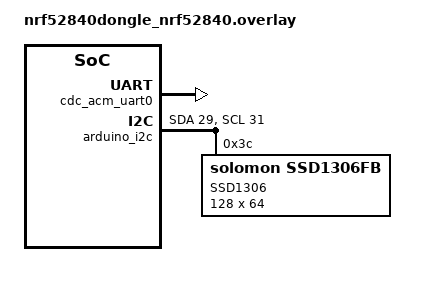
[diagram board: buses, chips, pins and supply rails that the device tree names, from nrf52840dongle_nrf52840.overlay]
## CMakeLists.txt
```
# SPDX-License-Identifier: Apache-2.0

cmake_minimum_required(VERSION 3.20.0)

set(SHIELD ssd1306_128x64)

find_package(Zephyr REQUIRED HINTS $ENV{ZEPHYR_BASE})
project(none)

target_sources(app PRIVATE src/main.c src/ttpms_display.c src/ttpms_client.c)
```

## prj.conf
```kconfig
CONFIG_HEAP_MEM_POOL_SIZE=16384
CONFIG_MAIN_STACK_SIZE=2048

CONFIG_USB_DEVICE_STACK=y
CONFIG_USB_DEVICE_PRODUCT="TTPMS Dongle"

CONFIG_SERIAL=y
CONFIG_CONSOLE=y
CONFIG_UART_CONSOLE=y
CONFIG_UART_LINE_CTRL=y

CONFIG_DISPLAY=y

CONFIG_LVGL=y
CONFIG_LVGL_USE_LABEL=y
CONFIG_LVGL_USE_CONT=y
CONFIG_LVGL_USE_THEME_MATERIAL=y

CONFIG_LVGL_USE_THEME_MONO=y    # white on black
CONFIG_LVGL_USE_LINE=y

CONFIG_BT=y
CONFIG_BT_CENTRAL=y
CONFIG_BT_GATT_CLIENT=y

CONFIG_BT_SCAN=y
CONFIG_BT_SCAN_FILTER_ENABLE=y
CONFIG_BT_SCAN_UUID_CNT=4

CONFIG_BT_MAX_CONN=4

CONFIG_BT_BUF_ACL_RX_SIZE=251
CONFIG_BT_BUF_ACL_TX_SIZE=251
CONFIG_BT_L2CAP_TX_MTU=247
CONFIG_BT_CTLR_DATA_LENGTH_MAX=251
```

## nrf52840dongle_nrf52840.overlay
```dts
// To get started, press Ctrl+Space to bring up the completion menu and view the available nodes.
// For more help, browse the DeviceTree documentation at https://docs.zephyrproject.org/latest/guides/dts/index.html

/*  ALSO ADDED THE BELOW TO nrf52840dongle_nrf52840.dts
    arduino_i2c: &i2c0 {
	compatible = "nordic,nrf-twi";
	status = "okay";
	sda-pin = <26>;
	scl-pin = <27>;
};
*/

/ {
	chosen {
		zephyr,console = &cdc_acm_uart0;
	};
};

&zephyr_udc0 {
	cdc_acm_uart0: cdc_acm_uart0 {
		compatible = "zephyr,cdc-acm-uart";
		label = "CDC_ACM_0";
	};
};

&arduino_i2c {
    status = "okay";
    sda-pin = <29>;
    scl-pin = <31>;
    ssd1306@3c {
        compatible = "solomon,ssd1306fb";
        reg = <0x3c>;
        label = "SSD1306";
        width = <128>;
        height = <64>;
        segment-offset = <0>;
        page-offset = <0>;
        display-offset = <0>;
        multiplex-ratio = <63>;
        segment-remap;
        com-invdir;
        prechargep = <0x22>;
    };
};
```

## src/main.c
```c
/*
 * Copyright (c) 2012-2014 Wind River Systems, Inc.
 *
 * SPDX-License-Identifier: Apache-2.0
 */

#include <zephyr.h>
#include <sys/printk.h>

#include <usb/usb_device.h>
#include <drivers/uart.h>

#include "ttpms_display.h"
#include "ttpms_client.h"

void main(void)
{
	const struct device *dev = DEVICE_DT_GET(DT_CHOSEN(zephyr_console));
	uint32_t dtr = 0;
	
	if (usb_enable(NULL)) {
		return;
	}
	
	// Poll if the DTR flag was set
	while (!dtr) {
		uart_line_ctrl_get(dev, UART_LINE_CTRL_DTR, &dtr);
		// Give CPU resources to low priority threads.
		k_sleep(K_MSEC(100));
	}

	ttpms_display_init();

	ttpms_client_init();

	ttpms_display_update_test();
}
```

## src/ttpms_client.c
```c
#include "ttpms_client.h"

static struct bt_uuid_128 ttpms_uuids[4] = {BT_UUID_INIT_128(TTPMS_BASE_UUID_FL),
											BT_UUID_INIT_128(TTPMS_BASE_UUID_FR),
											BT_UUID_INIT_128(TTPMS_BASE_UUID_RL),
											BT_UUID_INIT_128(TTPMS_BASE_UUID_RR)};

static struct bt_conn *default_conn;

static void scan_filter_match(struct bt_scan_device_info *device_info,
			      struct bt_scan_filter_match *filter_match,
			      bool connectable)
{
	char addr[BT_ADDR_LE_STR_LEN];

	bt_addr_le_to_str(device_info->recv_info->addr, addr, sizeof(addr));

	printk("Filters matched. Address: %s connectable: %s\n",
		addr, connectable ? "yes" : "no");
}

static void scan_connecting_error(struct bt_scan_device_info *device_info)
{
	printk("Connecting failed\n");
}

static void scan_connecting(struct bt_scan_device_info *device_info,
			    struct bt_conn *conn)
{
	default_conn = bt_conn_ref(conn);
}

static void scan_filter_no_match(struct bt_scan_device_info *device_info,
				 bool connectable)
{
	int err;
	struct bt_conn *conn;
	char addr[BT_ADDR_LE_STR_LEN];

	if (device_info->recv_info->adv_type == BT_GAP_ADV_TYPE_ADV_DIRECT_IND) {
		bt_addr_le_to_str(device_info->recv_info->addr, addr,
				  sizeof(addr));
		printk("Direct advertising received from %s\n", addr);
		bt_scan_stop();

		err = bt_conn_le_create(device_info->recv_info->addr,
					BT_CONN_LE_CREATE_CONN,
					device_info->conn_param, &conn);

		if (!err) {
			default_conn = bt_conn_ref(conn);
			bt_conn_unref(conn);
		}
	}
}

BT_SCAN_CB_INIT(scan_cb, scan_filter_match, scan_filter_no_match,
		scan_connecting_error, scan_connecting);

static void mtu_exchange_cb(struct bt_conn *conn, uint8_t err,
			    struct bt_gatt_exchange_params *params)
{
	printk("MTU exchange %u %s (%u)\n", bt_conn_index(conn),
	       err == 0U ? "successful" : "failed", bt_gatt_get_mtu(conn));
}

static struct bt_gatt_exchange_params mtu_exchange_params[CONFIG_BT_MAX_CONN];

static int mtu_exchange(struct bt_conn *conn)
{
	uint8_t conn_index;
	int err;

	conn_index = bt_conn_index(conn);

	printk("MTU (%u): %u\n", conn_index, bt_gatt_get_mtu(conn));

	mtu_exchange_params[conn_index].func = mtu_exchange_cb;

	err = bt_gatt_exchange_mtu(conn, &mtu_exchange_params[conn_index]);
	if (err) {
		printk("MTU exchange failed (err %d)", err);
	} else {
		printk("Exchange pending...");
	}

	return err;
}

static void connected(struct bt_conn *conn, uint8_t conn_err)
{
	int err;
	char addr[BT_ADDR_LE_STR_LEN];

	bt_addr_le_to_str(bt_conn_get_dst(conn), addr, sizeof(addr));

	if (conn_err) {
		printk("Failed to connect to %s (%u)\n", addr, conn_err);
		if (conn == default_conn) {
			bt_conn_unref(default_conn);
			default_conn = NULL;

			/* This demo doesn't require active scan */
			err = bt_scan_start(BT_SCAN_TYPE_SCAN_ACTIVE);
			if (err) {
				printk("Scanning failed to start (err %d)\n",
				       err);
			}
		}

		return;
	}

	printk("Connected: %s\n", addr);

	mtu_exchange(conn);

}

static void disconnected(struct bt_conn *conn, uint8_t reason)
{
	char addr[BT_ADDR_LE_STR_LEN];
	int err;

	bt_addr_le_to_str(bt_conn_get_dst(conn), addr, sizeof(addr));

	printk("Disconnected: %s (reason %u)\n", addr, reason);

	if (default_conn != conn) {
		return;
	}

	bt_conn_unref(default_conn);
	default_conn = NULL;

	/* This demo doesn't require active scan */
	err = bt_scan_start(BT_SCAN_TYPE_SCAN_ACTIVE);
	if (err) {
		printk("Scanning failed to start (err %d)\n", err);
	}
}

BT_CONN_CB_DEFINE(conn_callbacks) = {
	.connected = connected,
	.disconnected = disconnected,
};

static void scan_init(void)
{
	int err;

	struct bt_scan_init_param scan_init = {
		.connect_if_match = 1,
		.scan_param = NULL,
		.conn_param = BT_LE_CONN_PARAM_DEFAULT
	};

	bt_scan_init(&scan_init);
	bt_scan_cb_register(&scan_cb);

	err = bt_scan_filter_add(BT_SCAN_FILTER_TYPE_UUID, ttpms_uuids);
	if (err) {
		printk("Scanning filters cannot be set (err %d)\n", err);

		return;
	}

	err = bt_scan_filter_enable(BT_SCAN_UUID_FILTER, false);
	if (err) {
		printk("Filters cannot be turned on (err %d)\n", err);
	}
}

void ttpms_client_init(void)
{
    int err;

	printk("Starting TTPMS Dongle\n");

	err = bt_enable(NULL);
	if (err) {
		printk("Bluetooth init failed (err %d)\n", err);
		return;
	}

	printk("Bluetooth initialized\n");

	scan_init();

	err = bt_scan_start(BT_SCAN_TYPE_SCAN_ACTIVE);
	if (err) {
		printk("Scanning failed to start (err %d)\n", err);
		return;
	}

	printk("Scanning successfully started\n");
}
```

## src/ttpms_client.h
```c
#include <bluetooth/bluetooth.h>
#include <bluetooth/hci.h>
#include <bluetooth/conn.h>
#include <bluetooth/uuid.h>
#include <bluetooth/gatt.h>
#include <bluetooth/scan.h>

#define UUID_PART_1				    0x7f0413db		// randomly generated
#define TTPMS_LOCATION_FL			0xFF01
#define TTPMS_LOCATION_FR			0xFF02
#define TTPMS_LOCATION_RL			0xFF03
#define TTPMS_LOCATION_RR			0xFF04
#define BASE_UUID_PART			    0x00FF			// used for base service UUID
#define UUID_PART_4				    0x9c11			// randomly generated
#define UUID_PART_5				    0x8f8275ff78c4	// randomly generated

#define TTPMS_BASE_UUID_FL BT_UUID_128_ENCODE(UUID_PART_1, TTPMS_LOCATION_FL, BASE_UUID_PART, UUID_PART_4, UUID_PART_5)
#define TTPMS_BASE_UUID_FR BT_UUID_128_ENCODE(UUID_PART_1, TTPMS_LOCATION_FR, BASE_UUID_PART, UUID_PART_4, UUID_PART_5)
#define TTPMS_BASE_UUID_RL BT_UUID_128_ENCODE(UUID_PART_1, TTPMS_LOCATION_RL, BASE_UUID_PART, UUID_PART_4, UUID_PART_5)
#define TTPMS_BASE_UUID_RR BT_UUID_128_ENCODE(UUID_PART_1, TTPMS_LOCATION_RR, BASE_UUID_PART, UUID_PART_4, UUID_PART_5)

void ttpms_client_init(void);
```

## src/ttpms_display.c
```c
#include "ttpms_display.h"

uint32_t count = 0U;		// number value
char count_str[11] = {0};	// number string
const struct device *display_dev;

static lv_style_t style_1;
lv_obj_t *boot_label_1;
lv_obj_t *boot_label_2;
lv_obj_t *FL_label;
lv_obj_t *FL_connection_label;
lv_obj_t *FL_battery_label;
lv_obj_t *FR_label;
lv_obj_t *FR_connection_label;
lv_obj_t *FR_battery_label;
lv_obj_t *RL_label;
lv_obj_t *RL_connection_label;
lv_obj_t *RL_battery_label;
lv_obj_t *RR_label;
lv_obj_t *RR_connection_label;
lv_obj_t *RR_battery_label;
static lv_point_t *vertical_line_points;
static lv_point_t *horizontal_line_points;
lv_obj_t *vertical_line;
lv_obj_t *horizontal_line;
static lv_style_t style_line;

void ttpms_display_init(void)
{

	display_dev = device_get_binding(CONFIG_LVGL_DISPLAY_DEV_NAME);

	if (display_dev == NULL) {
		printk("device not found.  Aborting test.");
		return;
	}

	lv_style_init(&style_1);
	lv_style_set_text_letter_space(&style_1, LV_STATE_DEFAULT, -1);

	boot_label_1 = lv_label_create(lv_scr_act(), NULL);
	lv_label_set_text(boot_label_1, "TTPMS v1.0");
	lv_label_set_align(boot_label_1, LV_LABEL_ALIGN_CENTER);
	lv_obj_align(boot_label_1, NULL, LV_ALIGN_CENTER, 0, -16);

	boot_label_2 = lv_label_create(lv_scr_act(), NULL);
	lv_label_set_text(boot_label_2, "Schulich Racing\n\nRyland Mueller");
	lv_label_set_align(boot_label_2, LV_LABEL_ALIGN_CENTER);
	lv_obj_align(boot_label_2, NULL, LV_ALIGN_CENTER, 0, 14);

	lv_task_handler();

	k_sleep(K_MSEC(3000));

	lv_obj_set_hidden(boot_label_1, true);
	lv_obj_set_hidden(boot_label_2, true);

	FL_label = lv_label_create(lv_scr_act(), NULL);
	lv_obj_align(FL_label, NULL, LV_ALIGN_IN_TOP_LEFT, 0, 6);
	lv_label_set_text(FL_label, "FL");

	FL_connection_label = lv_label_create(lv_scr_act(), NULL);
	lv_obj_align(FL_connection_label, NULL, LV_ALIGN_IN_TOP_LEFT, 0, 18);
	lv_label_set_text(FL_connection_label, "Connected");
	lv_obj_add_style(FL_connection_label, LV_LABEL_PART_MAIN, &style_1);

	FL_battery_label = lv_label_create(lv_scr_act(), NULL);
	lv_obj_align(FL_battery_label, NULL, LV_ALIGN_IN_TOP_LEFT, 36, 6);
	lv_label_set_long_mode(FL_battery_label, LV_LABEL_LONG_CROP);
	lv_obj_set_width(FL_battery_label, 24);
	lv_label_set_text(FL_battery_label, "");
	lv_label_set_align(FL_battery_label, LV_LABEL_ALIGN_RIGHT);

	FR_label = lv_label_create(lv_scr_act(), NULL);
	lv_obj_align(FR_label, NULL, LV_ALIGN_IN_TOP_LEFT, 66, 6);
	lv_label_set_text(FR_label, "FR");

	FR_connection_label = lv_label_create(lv_scr_act(), NULL);
	lv_obj_align(FR_connection_label, NULL, LV_ALIGN_IN_TOP_LEFT, 66, 18);
	lv_label_set_text(FR_connection_label, "Scanning");
	lv_obj_add_style(FR_connection_label, LV_LABEL_PART_MAIN, &style_1);

	FR_battery_label = lv_label_create(lv_scr_act(), NULL);
	lv_obj_align(FR_battery_label, NULL, LV_ALIGN_IN_TOP_LEFT, 102, 6);
	lv_label_set_long_mode(FR_battery_label, LV_LABEL_LONG_CROP);
	lv_obj_set_width(FR_battery_label, 24);
	lv_label_set_text(FR_battery_label, "");
	lv_label_set_align(FR_battery_label, LV_LABEL_ALIGN_RIGHT);

	RL_label = lv_label_create(lv_scr_act(), NULL);
	lv_obj_align(RL_label, NULL, LV_ALIGN_IN_TOP_LEFT, 0, 41);
	lv_label_set_text(RL_label, "RL");

	RL_connection_label = lv_label_create(lv_scr_act(), NULL);
	lv_obj_align(RL_connection_label, NULL, LV_ALIGN_IN_TOP_LEFT, 0, 53);
	lv_label_set_text(RL_connection_label, "Connected");
	lv_obj_add_style(RL_connection_label, LV_LABEL_PART_MAIN, &style_1);

	RL_battery_label = lv_label_create(lv_scr_act(), NULL);
	lv_obj_align(RL_battery_label, NULL, LV_ALIGN_IN_TOP_LEFT, 36, 41);
	lv_label_set_long_mode(RL_battery_label, LV_LABEL_LONG_CROP);
	lv_obj_set_width(RL_battery_label, 24);
	lv_label_set_text(RL_battery_label, "");
	lv_label_set_align(RL_battery_label, LV_LABEL_ALIGN_RIGHT);

	RR_label = lv_label_create(lv_scr_act(), NULL);
	lv_obj_align(RR_label, NULL, LV_ALIGN_IN_TOP_LEFT, 66, 41);
	lv_label_set_text(RR_label, "RR");

	RR_connection_label = lv_label_create(lv_scr_act(), NULL);
	lv_obj_align(RR_connection_label, NULL, LV_ALIGN_IN_TOP_LEFT, 66, 53);
	lv_label_set_text(RR_connection_label, "Connected");
	lv_obj_add_style(RR_connection_label, LV_LABEL_PART_MAIN, &style_1);

	RR_battery_label = lv_label_create(lv_scr_act(), NULL);
	lv_obj_align(RR_battery_label, NULL, LV_ALIGN_IN_TOP_LEFT, 102, 41);
	lv_label_set_long_mode(RR_battery_label, LV_LABEL_LONG_CROP);
	lv_obj_set_width(RR_battery_label, 24);
	lv_label_set_text(RR_battery_label, "");
	lv_label_set_align(RR_battery_label, LV_LABEL_ALIGN_RIGHT);
	
    vertical_line_points = (lv_point_t [2]) { {64, 0}, {64, 64} };
	vertical_line = lv_line_create(lv_scr_act(), NULL);
    lv_line_set_points(vertical_line, vertical_line_points, 2);

	horizontal_line_points = (lv_point_t [2]) { {0, 32}, {128, 32} };
	horizontal_line = lv_line_create(lv_scr_act(), NULL);
    lv_line_set_points(horizontal_line, horizontal_line_points, 2);

    lv_style_init(&style_line);
    lv_style_set_line_width(&style_line, LV_STATE_DEFAULT, 1);
	lv_style_set_line_color(&style_line, LV_STATE_DEFAULT, LV_COLOR_WHITE);

	lv_obj_add_style(vertical_line, LV_LINE_PART_MAIN, &style_line);
	lv_obj_add_style(horizontal_line, LV_LINE_PART_MAIN, &style_line);

	lv_task_handler();
}

//  actual functions should be update_temp, update_battey, update_connection, etc that are not blocking

void ttpms_display_update_test(void)    // this function runs forever to test/update display values
{
    while (1) {
		if ((count % 100) == 0U) {
			sprintf(count_str, "%d%%", count/100U);
			lv_label_set_text(FL_battery_label, count_str);
			lv_label_set_text(FR_battery_label, count_str);
			lv_label_set_text(RL_battery_label, count_str);
			lv_label_set_text(RR_battery_label, count_str);
		}
		lv_task_handler();
		k_sleep(K_MSEC(2));
		++count;
	}
}
```

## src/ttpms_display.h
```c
#include <device.h>
#include <drivers/display.h>
#include <lvgl.h>
#include <stdio.h>
#include <string.h>
#include <zephyr.h>

void ttpms_display_init(void);

void ttpms_display_update_test(void);
```
